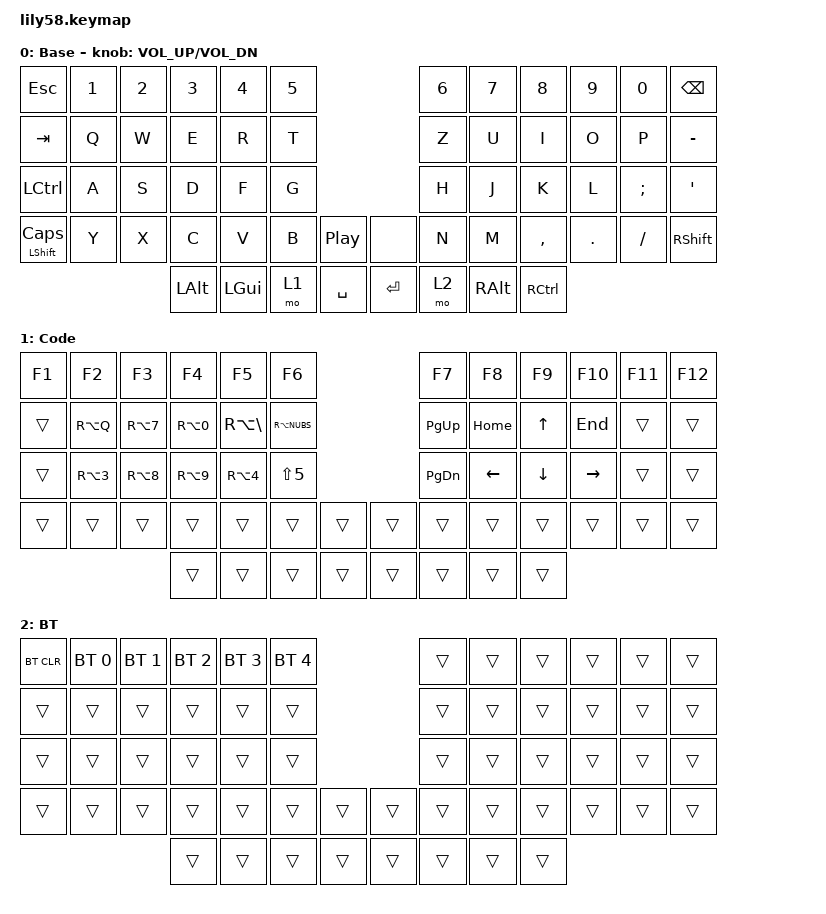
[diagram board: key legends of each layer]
/*
 * Copyright (c) 2020 The ZMK Contributors
 *
 * SPDX-License-Identifier: MIT
 */

#include <behaviors.dtsi>

#include <dt-bindings/zmk/keys.h>
#include <dt-bindings/zmk/bt.h>
#include <dt-bindings/zmk/ext_power.h>
//#include <dt-bindings/zmk/codes.h>
#include <dt-bindings/zmk/behaviors.h>

/ {
    left_encoder: encoder_left {
        compatible = "alps,ec11";
        label = "LEFT_ENCODER";
        a-gpios = <&pro_micro 21 (GPIO_ACTIVE_HIGH | GPIO_PULL_UP)>;
        b-gpios = <&pro_micro 20 (GPIO_ACTIVE_HIGH | GPIO_PULL_UP)>;
        steps = <80>;
    };

    sensors {
        compatible = "zmk,keymap-sensors";
        sensors = <&left_encoder>;
        triggers-per-rotation = <20>;
    };

    keymap {
        compatible = "zmk,keymap";

        default_layer {
            display-name = "Base";
// ------------------------------------------------------------------------------------------------------------
// |  ESC  |  1  |  2  |  3   |  4   |  5   |                   |  6   |  7    |  8    |  9   |   0   |  BSPC |
// |  TAB  |  Q  |  W  |  E   |  R   |  T   |                   |  Z   |  U    |  I    |  O   |   P   |   +   |
// |  CTRL |  A  |  S  |  D   |  F   |  G   |                   |  H   |  J    |  K    |  L    |   Ö   |   Ä   |
// | SHIFT |  Y  |  X  |  C   |  V   |  B   | PLAY  |  |       |  N   |  M    |  ,    |  .    |   -   | SHIFT |
//                     | ALT  | GUI  | LOWER| SPACE |  | ENTER | RAISE| RALT  | CTRL  |
            bindings = <
&kp ESC   &kp N1 &kp N2 &kp N3   &kp N4   &kp N5                     &kp N6 &kp N7   &kp N8    &kp N9  &kp N0   &kp BSPC
&kp TAB   &kp Q  &kp W  &kp E    &kp R    &kp T                      &kp Z  &kp U    &kp I     &kp O   &kp P    &kp MINUS
&kp LCTRL &kp A  &kp S  &kp D    &kp F    &kp G                      &kp H  &kp J    &kp K     &kp L   &kp SEMI &kp SQT
&mt LSHFT CAPS &kp Y  &kp X  &kp C    &kp V    &kp B  &kp C_PP   &none    &kp N  &kp M    &kp COMMA &kp DOT &kp FSLH &kp RSHFT
                        &kp LALT &kp LGUI &mo 1  &kp SPACE  &kp RET  &mo 2  &kp RALT &kp RCTRL
            >;

            sensor-bindings = <&inc_dec_kp C_VOL_UP C_VOL_DN>;
        };

        lower_layer {
            display-name = "Code";
// ------------------------------------------------------------------------------------------------------------
// |  F1   |  F2 |  F3 |  F4  |  F5  |  F6  |                   |  F7  |  F8   |  F9   |  F10 |  F11  |  F12  |
// |       |  @  |  {  |  }   |  \   |  |   |                   | PGUP |  HOME |   ^   |  END |       |       |
// |       |  #  |  [  |  ]   |  $   |  %   |                   | PGDN |   <-  |   v   |  ->  |       |       |
// |       |     |     |      |      |      |       |  |       |      |       |       |      |       |       |
//                     |      |      |      |       |  |       |      |       |       |
            bindings = <
&kp F1     &kp F2    &kp F3    &kp F4    &kp F5    &kp F6                       &kp F7    &kp F8    &kp F9    &kp F10   &kp F11   &kp F12
&trans     &kp RA(Q) &kp RA(N7) &kp RA(N0) &kp RA(BSLH) &kp RA(NUBS)            &kp PG_UP &kp HOME  &kp UP    &kp END   &trans    &trans
&trans     &kp RA(N3) &kp RA(N8) &kp RA(N9) &kp RA(N4) &kp LS(N5)               &kp PG_DN &kp LEFT  &kp DOWN  &kp RIGHT &trans    &trans
&trans     &trans    &trans    &trans    &trans    &trans    &trans   &trans    &trans    &trans    &trans    &trans    &trans    &trans
                               &trans    &trans    &trans    &trans   &trans    &trans    &trans    &trans
            >;
        };

        raise_layer {
            display-name = "BT";
            bindings = <
&bt BT_CLR &bt BT_SEL 0 &bt BT_SEL 1 &bt BT_SEL 2 &bt BT_SEL 3 &bt BT_SEL 4             &trans &trans &trans &trans &trans &trans
&trans     &trans       &trans       &trans       &trans       &trans                   &trans &trans &trans &trans &trans &trans
&trans     &trans       &trans       &trans       &trans       &trans                   &trans &trans &trans &trans &trans &trans
&trans     &trans       &trans       &trans       &trans       &trans  &trans   &trans  &trans &trans &trans &trans &trans &trans
                                     &trans       &trans       &trans  &trans   &trans  &trans &trans &trans
            >;
        };
    };
};
